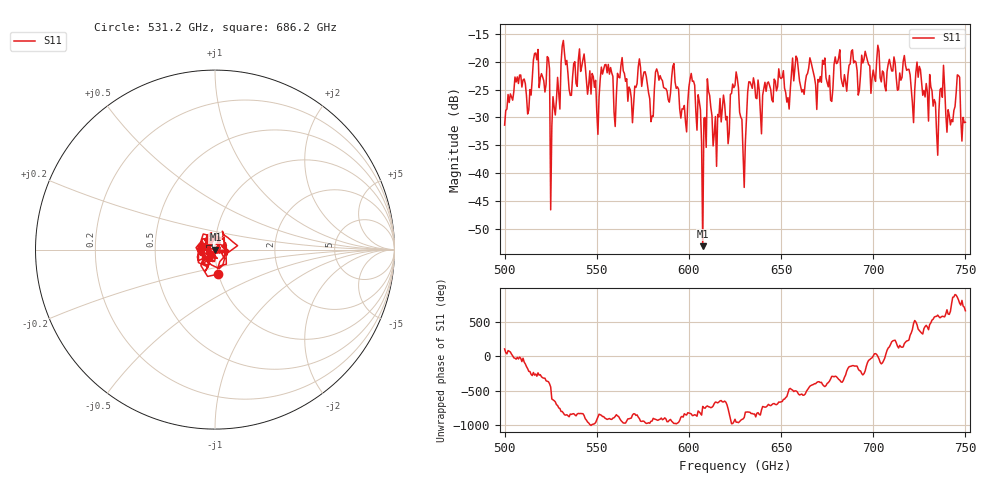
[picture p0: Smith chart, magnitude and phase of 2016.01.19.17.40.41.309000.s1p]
!Created with skrf (http://scikit-rf.org).
# GHz S RI R 50.0
!freq ReS11 ImS11
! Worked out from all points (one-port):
!   401 points, 500 GHz to 750 GHz, reference 50 ohm
!   lowest |S11| = -53.1 dB at 607.5 GHz (marker M1), VSWR 1.00, Z = 50.2 - j0.0406 ohm
!   |S11| at or under -10 dB: start of sweep to end of sweep
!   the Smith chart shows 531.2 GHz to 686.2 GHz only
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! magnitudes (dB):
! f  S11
! 500 GHz  -31.4
! 506.9 GHz  -22.7
! 513.1 GHz  -28.6
! 516.9 GHz  -18.4
! 523.1 GHz  -19.1
! 526.2 GHz  -26.3
! 531.2 GHz  -17.2
! 550 GHz  -28.9
! 562.5 GHz  -22.9
! 568.8 GHz  -26.6
! 576.2 GHz  -21.8
! 579.4 GHz  -30.8
! 583.1 GHz  -21.9
! 593.8 GHz  -24.5
! 597.5 GHz  -27.8
! 601.9 GHz  -23.5
! 607.5 GHz  -53.1
! 611.2 GHz  -26.0
! 614.4 GHz  -29.8
! 625 GHz  -24.3
! 630 GHz  -42.5
! 633.8 GHz  -24.1
! 656.2 GHz  -19.3
! 687.5 GHz  -20.4
! 718.8 GHz  -21.4
! 734.4 GHz  -32.8
! 745.6 GHz  -22.4
! 750 GHz  -30.9
